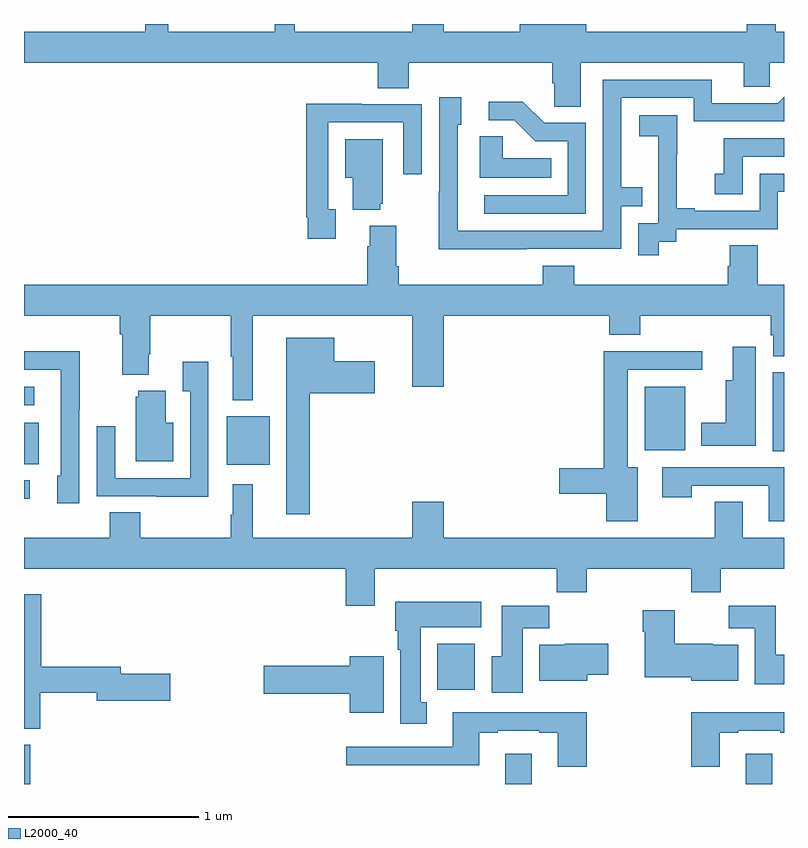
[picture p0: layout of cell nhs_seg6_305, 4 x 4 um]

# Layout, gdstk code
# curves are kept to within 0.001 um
import gdstk
lib = gdstk.Library(unit=1e-6, precision=1e-09)
def R(c, l, rs):  # rectangles x0, y0, x1, y1
    for r in rs: c.add(gdstk.rectangle(r[:2], r[2:], *l))
def P(c, l, *ps):  # polygons
    for p in ps: c.add(gdstk.Polygon(p, *l))
L2000_40 = (2000, 40)

nhs_seg6_305 = lib.new_cell('nhs_seg6_305')
R(nhs_seg6_305, L2000_40, [(127,983.5,127.034,983.707), (129.533,983.5,129.673,983.659), (130.799,983.5,130.939,983.659), (129.176,983.996,129.373,984.238), (127,985.001,127.03,985.098), (128.066,985.181,128.293,985.435), (127,985.183,127.078,985.402), (130.94,985.252,131,985.666), (130.268,985.256,130.48,985.591), (127,985.494,127.054,985.59)])
P(nhs_seg6_305, L2000_40, [(129.931,987.296),(130.787,987.296),(130.787,987.169),(130.926,987.169),(130.926,987.296),(131,987.296),(131,987.46),(130.957,987.46),(130.957,987.5),(130.805,987.5),(130.805,987.46),(129.958,987.46),(129.958,987.5),(129.608,987.5),(129.608,987.46),(129.208,987.46),(129.208,987.5),(129.044,987.5),(129.044,987.46),(128.425,987.46),(128.425,987.5),(128.319,987.5),(128.319,987.46),(127.759,987.46),(127.759,987.5),(127.638,987.5),(127.638,987.46),(127,987.46),(127,987.296),(128.861,987.296),(128.861,987.163),(129.026,987.163),(129.026,987.296),(129.779,987.296),(129.779,987.187),(129.792,987.187),(129.792,987.064),(129.931,987.064)],
  [(129.647,986.316),(130.143,986.316),(130.143,986.541),(130.253,986.541),(130.253,986.642),(130.143,986.642),(130.143,987.111),(130.524,987.111),(130.524,986.988),(131,986.988),(131,987.116),(130.968,987.084),(130.621,987.084),(130.621,987.207),(130.047,987.207),(130.047,986.412),(129.282,986.412),(129.282,986.97),(129.301,986.97),(129.301,987.115),(129.186,987.115),(129.186,986.621),(129.184,986.621),(129.184,986.315)],
  [(129.957,986.979),(129.738,986.979),(129.625,987.092),(129.447,987.092),(129.447,986.994),(129.581,986.994),(129.692,986.883),(129.861,986.883),(129.861,986.598),(129.423,986.598),(129.423,986.502),(129.957,986.502)],
  [(128.641,986.526),(128.601,986.526),(128.601,986.982),(128.997,986.982),(128.997,986.709),(129.093,986.709),(129.093,987.078),(128.777,987.078),(128.777,987.08),(128.485,987.08),(128.485,986.482),(128.493,986.482),(128.493,986.37),(128.641,986.37)],
  [(130.342,986.353),(130.434,986.353),(130.434,986.421),(130.968,986.421),(130.968,986.616),(131,986.616),(131,986.712),(130.872,986.712),(130.872,986.517),(130.531,986.517),(130.531,986.53),(130.436,986.53),(130.436,986.813),(130.437,986.813),(130.437,987.019),(130.239,987.019),(130.239,986.909),(130.337,986.909),(130.337,986.681),(130.338,986.681),(130.338,986.451),(130.233,986.451),(130.233,986.283),(130.342,986.283)],
  [(129.776,986.794),(129.519,986.794),(129.519,986.909),(129.398,986.909),(129.398,986.69),(129.776,986.69)],
  [(130.782,986.802),(131,986.802),(131,986.898),(130.684,986.898),(130.684,986.713),(130.635,986.713),(130.635,986.604),(130.782,986.604)],
  [(128.876,986.553),(128.887,986.553),(128.887,986.893),(128.69,986.893),(128.69,986.69),(128.729,986.69),(128.729,986.522),(128.876,986.522)],
  [(128.203,985.964),(129.044,985.964),(129.044,985.59),(129.208,985.59),(129.208,985.964),(130.079,985.964),(130.079,985.865),(130.244,985.865),(130.244,985.964),(130.931,985.964),(130.931,985.863),(130.943,985.863),(130.943,985.751),(131,985.751),(131,986.128),(130.863,986.128),(130.863,986.336),(130.715,986.336),(130.715,986.226),(130.703,986.226),(130.703,986.128),(129.896,986.128),(129.896,986.227),(129.731,986.227),(129.731,986.128),(128.972,986.128),(128.972,986.224),(128.959,986.224),(128.959,986.437),(128.819,986.437),(128.819,986.33),(128.807,986.33),(128.807,986.128),(127,986.128),(127,985.964),(127.505,985.964),(127.505,985.868),(127.517,985.868),(127.517,985.655),(127.657,985.655),(127.657,985.762),(127.665,985.762),(127.665,985.964),(128.089,985.964),(128.089,985.748),(128.099,985.748),(128.099,985.52),(128.203,985.52)],
  [(128.503,985.556),(128.845,985.556),(128.845,985.726),(128.632,985.726),(128.632,985.849),(128.381,985.849),(128.381,984.921),(128.503,984.921)],
  [(130.852,985.801),(130.73,985.801),(130.73,985.624),(130.694,985.624),(130.694,985.402),(130.565,985.402),(130.565,985.28),(130.852,985.28)],
  [(130.231,985.168),(130.177,985.168),(130.177,985.68),(130.57,985.68),(130.57,985.778),(130.052,985.778),(130.052,985.163),(129.816,985.163),(129.816,985.028),(130.064,985.028),(130.064,984.882),(130.231,984.882)],
  [(127.29,985.471),(127.293,985.471),(127.293,985.778),(127,985.778),(127,985.68),(127.194,985.68),(127.194,985.122),(127.175,985.122),(127.175,984.978),(127.29,984.978)],
  [(127.971,985.723),(127.835,985.723),(127.835,985.567),(127.875,985.567),(127.875,985.11),(127.479,985.11),(127.479,985.384),(127.383,985.384),(127.383,985.014),(127.699,985.014),(127.699,985.013),(127.971,985.013)],
  [(127.786,985.402),(127.747,985.402),(127.747,985.57),(127.601,985.57),(127.601,985.539),(127.589,985.539),(127.589,985.199),(127.786,985.199)],
  [(131,985.167),(130.358,985.167),(130.358,985.008),(130.515,985.008),(130.515,985.071),(130.919,985.071),(130.919,984.882),(131,984.882)],
  [(128.845,984.632),(129.805,984.632),(129.805,984.508),(129.962,984.508),(129.962,984.632),(130.511,984.632),(130.511,984.508),(130.667,984.508),(130.667,984.632),(131,984.632),(131,984.796),(130.783,984.796),(130.783,984.986),(130.636,984.986),(130.636,984.796),(129.208,984.796),(129.208,984.985),(129.044,984.985),(129.044,984.796),(128.203,984.796),(128.203,985.078),(128.099,985.078),(128.099,984.917),(128.089,984.917),(128.089,984.796),(127.611,984.796),(127.611,984.929),(127.451,984.929),(127.451,984.796),(127,984.796),(127,984.632),(128.693,984.632),(128.693,984.438),(128.845,984.438)],
  [(127.086,983.98),(127.382,983.98),(127.382,983.938),(127.771,983.938),(127.771,984.08),(127.51,984.08),(127.51,984.116),(127.091,984.116),(127.091,984.499),(127,984.499),(127,983.792),(127.086,983.792)],
  [(129.121,983.93),(129.088,983.93),(129.088,984.326),(129.406,984.326),(129.406,984.46),(128.954,984.46),(128.954,984.306),(128.966,984.306),(128.966,984.206),(128.981,984.206),(128.981,983.817),(129.121,983.817)],
  [(129.625,984.32),(129.764,984.32),(129.764,984.439),(129.515,984.439),(129.515,984.172),(129.461,984.172),(129.461,983.979),(129.625,983.979)],
  [(131,984.18),(130.957,984.18),(130.957,984.439),(130.708,984.439),(130.708,984.32),(130.847,984.32),(130.847,984.024),(131,984.024)],
  [(130.759,984.232),(130.626,984.232),(130.626,984.238),(130.426,984.238),(130.426,984.415),(130.256,984.415),(130.256,984.302),(130.268,984.302),(130.268,984.062),(130.512,984.062),(130.512,984.044),(130.759,984.044)],
  [(129.964,984.074),(130.075,984.074),(130.075,984.238),(129.846,984.238),(129.846,984.232),(129.713,984.232),(129.713,984.044),(129.964,984.044)],
  [(128.893,984.172),(128.714,984.172),(128.714,984.122),(128.262,984.122),(128.262,983.975),(128.714,983.975),(128.714,983.876),(128.893,983.876)],
  [(130.663,983.769),(130.759,983.769),(130.759,983.781),(130.979,983.781),(130.979,983.769),(131,983.769),(131,983.878),(130.511,983.878),(130.511,983.592),(130.663,983.592)],
  [(129.962,983.878),(129.717,983.878),(129.717,983.877),(129.257,983.877),(129.257,983.697),(128.697,983.697),(128.697,983.6),(129.397,983.6),(129.397,983.769),(129.493,983.769),(129.493,983.781),(129.713,983.781),(129.713,983.769),(129.809,983.769),(129.809,983.592),(129.962,983.592)])

lib.write_gds('nhs_seg6_305.gds')
